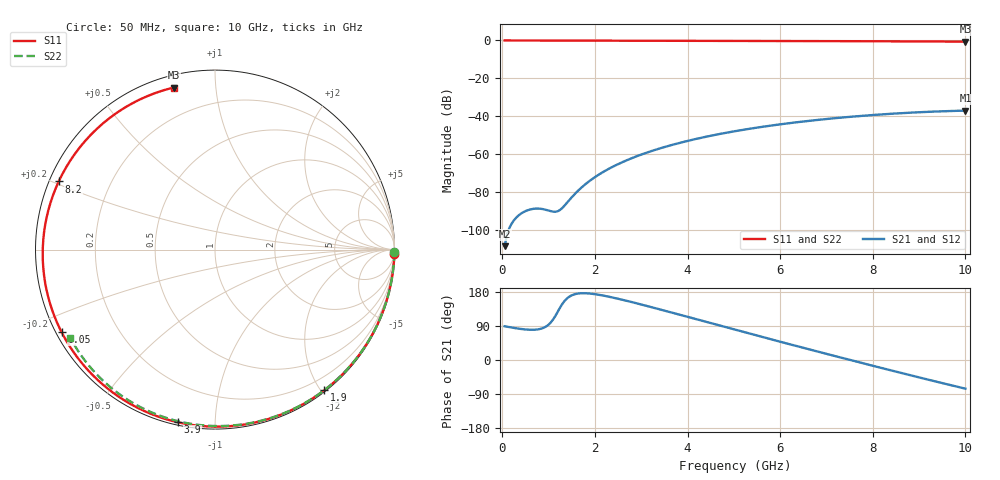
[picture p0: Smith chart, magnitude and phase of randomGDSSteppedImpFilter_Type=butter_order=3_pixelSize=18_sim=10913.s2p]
! freq	dB(S11)	phase(S11)	dB(S12)	phase(S12)
!  dB(S21)	phase(S21)	dB(S22)	phase(S22)
!S-par simulation data
#  GHz  S  DB  R 50
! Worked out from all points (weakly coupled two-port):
!   200 points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, 50 MHz to 10 GHz, reference 50 ohm
!   highest |S21| = -37.05 dB at 10 GHz (marker M1); lowest = -108.6 dB at 50 MHz (marker M2)
!   lowest |S11| = -0.6 dB at 10 GHz (marker M3), VSWR 28.25, Z = 2.84 + j38.8 ohm
!   |S11| at or under -10 dB: nowhere
!   |S22| runs from -0.5 to 0.0 dB; largest |S21 - S12| = 0
!   S11 on the Smith chart (normalised r, x): 50 MHz: 0, -81; 1.9 GHz: 0.02, -2.05; 3.9 GHz: 0.01, -0.81; 6.05 GHz: 0.02, -0.25; 8.2 GHz: 0.03, +0.21; 10 GHz: 0.06, +0.78
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0.05  -0.00 -1.4  -108.62 89.0  -108.62 89.0  -0.00 -0.9
0.4  -0.02 -11.2  -91.48 81.9  -91.48 81.9  -0.01 -6.9
0.8  -0.03 -22.3  -88.81 81.4  -88.81 81.4  -0.02 -13.7
1.6  -0.06 -44.1  -80.21 174.6  -80.21 174.6  -0.03 -27.2
1.75  -0.06 -48.1  -76.81 176.2  -76.81 176.2  -0.04 -29.7
1.9  -0.07 -52.1  -73.90 175.2  -73.90 175.2  -0.04 -32.2
2.2  -0.08 -59.9  -69.13 169.5  -69.13 169.5  -0.05 -37.2
2.55  -0.09 -68.9  -64.74 160.2  -64.74 160.2  -0.06 -42.9
2.95  -0.10 -79.0  -60.71 148.1  -60.71 148.1  -0.06 -49.3
3.4  -0.12 -90.1  -57.02 133.6  -57.02 133.6  -0.08 -56.4
3.9  -0.14 -102.1  -53.65 117.2  -53.65 117.2  -0.09 -64.2
4.45  -0.16 -115.0  -50.58 99.1  -50.58 99.1  -0.10 -72.5
5.05  -0.19 -128.8  -47.80 79.3  -47.80 79.3  -0.13 -81.4
6.05  -0.26 -151.7  -44.13 46.6  -44.13 46.6  -0.17 -95.8
6.7  -0.31 -166.7  -42.24 25.7  -42.24 25.7  -0.20 -104.8
7.45  -0.37 175.4  -40.45 2.0  -40.45 2.0  -0.25 -114.9
8.2  -0.45 156.4  -39.03 -21.4  -39.03 -21.4  -0.31 -124.9
8.35  -0.46 152.5  -38.79 -26.0  -38.79 -26.0  -0.33 -126.9
8.75  -0.50 141.6  -38.21 -38.3  -38.21 -38.3  -0.36 -132.2
9.15  -0.54 130.3  -37.73 -50.5  -37.73 -50.5  -0.40 -137.4
9.6  -0.58 116.8  -37.32 -63.9  -37.32 -63.9  -0.45 -143.4
10  -0.62 104.3  -37.05 -75.6  -37.05 -75.6  -0.50 -148.7
